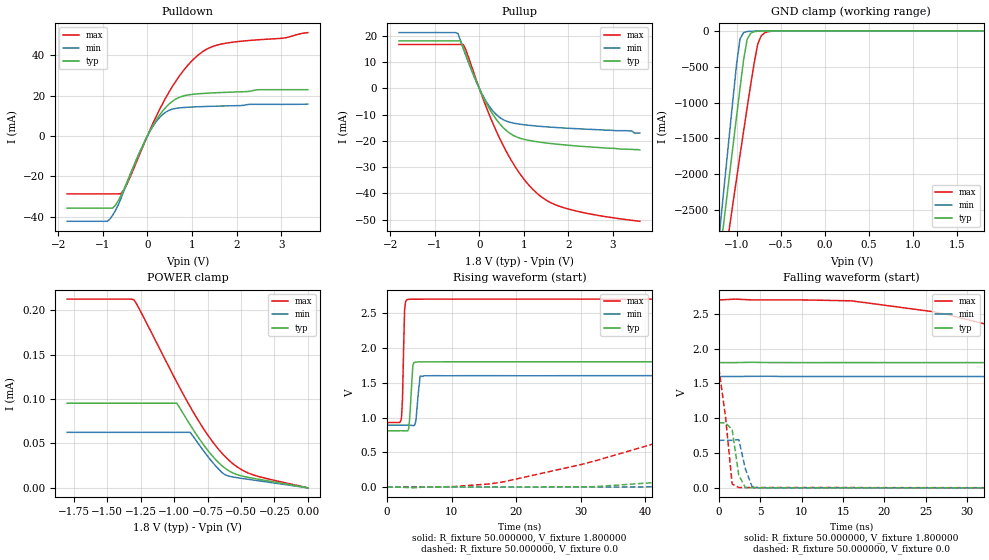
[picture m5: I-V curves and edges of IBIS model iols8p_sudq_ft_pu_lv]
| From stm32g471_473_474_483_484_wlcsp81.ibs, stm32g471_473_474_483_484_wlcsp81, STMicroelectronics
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|   Model iols8p_sudq_ft_pu_lv
[Model]  iols8p_sudq_ft_pu_lv
Model_type I/O
Polarity   Non-Inverting
Enable   Active-Low
Vinl =   0.540000V
Vinh =   1.260000V
Vmeas =  0.900000V
Cref =   50.000000pF
Rref =   100.000000M
Vref =   0.0V
C_comp   1.984800pF   1.899400pF   2.077500pF
[Temperature Range]   25.000000   -40.000000   0.125000k
[Pullup Reference]   1.800000V   1.600000V   2.700000V
[Pulldown Reference]   0.0V   0.0V   0.0V
[POWER Clamp Reference]   1.800000V   1.600000V   2.700000V
[GND Clamp Reference]   0.0V   0.0V   0.0V
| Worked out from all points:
|   slope of the pulldown table from 0 to 0.27 V, typ, clamps not added: 26.4 ohm
|   slope of the pullup table from 0 to 0.27 V, typ, clamps not added: 30.1 ohm
|   GND clamp passes 1 mA (typ) near -0.61 V on its own axis
|   rising waveform, R_fixture 50.000000, V_fixture 1.800000: 20-80 % time 379ps typ, 423ps min, 265ps max; typ from 0.81 V to 1.8 V
|   rising waveform, R_fixture 50.000000, V_fixture 0.0: 20-80 % time 68.6ns typ, 74.3ns min, 45.2ns max; typ from 0.001 V to 0.935 V
|   falling waveform, R_fixture 50.000000, V_fixture 1.800000: 20-80 % time 72.7ns typ, 95.3ns min, 37.6ns max; typ from 1.8 V to 0.81 V
|   falling waveform, R_fixture 50.000000, V_fixture 0.0: 20-80 % time 683ps typ, 950ps min, 966ps max; typ from 0.935 V to 0.001 V
[Pulldown]
|Voltage   I(typ)   I(min)   I(max)
-1.8V     -35.64mA   -42.15mA   -28.59mA
-900mV    -35.64mA   -42.15mA   -28.59mA
-780mV    -35.64mA   -39.2mA    -28.59mA
-600mV    -29.83mA   -31.3mA    -28.52mA
-420mV    -20.8mA    -21.07mA   -21.98mA
60mV      2.604mA    2.459mA    3.062mA
240mV     9.303mA    8.31mA     11.61mA
480mV     15.67mA    12.64mA    21.52mA
720mV     19.18mA    13.9mA     29.74mA
960mV     20.46mA    14.3mA     36.27mA
1.44V     21.29mA    14.7mA     44.06mA
3.6V      22.91mA    15.79mA    51.15mA
[Pullup]
|Voltage   I(typ)   I(min)   I(max)
-1.8V     18.05mA    21.25mA    16.71mA
-540mV    18.05mA    21.25mA    16.71mA
-480mV    18.05mA    20.96mA    16.71mA
-420mV    18.05mA    18.11mA    16.71mA
-360mV    15.57mA    15.21mA    16.71mA
60mV      -2.268mA   -2.095mA   -2.822mA
360mV     -11.31mA   -9.605mA   -15.45mA
600mV     -15.96mA   -12.42mA   -23.82mA
840mV     -18.52mA   -13.44mA   -30.72mA
1.38V     -20.52mA   -14.48mA   -41.14mA
2.1V      -21.8mA    -15.27mA   -46.39mA
3.6V      -23.4mA    -17mA      -50.6mA
[GND_clamp]
|Voltage   I(typ)   I(min)   I(max)
-1.8V     -9.477A    -9.805A    -9.016A
-1.2V     -3.243A    -2.9A      -3.759A
-1.16V    -2.83A     -2.409A    -3.417A
-1.12V    -2.418A    -1.919A    -3.076A
-1.08V    -2.008A    -1.431A    -2.736A
-1V       -1.194A    -466mA     -2.061A
-960mV    -792.8mA   -108.7mA   -1.727A
-920mV    -402mA     -24.35mA   -1.396A
-880mV    -117.8mA   -9.188mA   -1.071A
-760mV    -5.896mA   -2.88mA    -183.8mA
-680mV    -2.395mA   -1.099mA   -26.61mA
1.8V      0A         0A         0A
[POWER_clamp]
|Voltage   I(typ)   I(min)   I(max)
-1.8V     95.27uA    62.52uA    212.4uA
-1.3V     95.27uA    62.52uA    211.7uA
-1.24V    95.27uA    62.52uA    195.4uA
-980mV    95.27uA    62.52uA    119uA
-880mV    70.93uA    62.52uA    91.35uA
-740mV    40.61uA    33.79uA    57.65uA
-640mV    24.64uA    16.99uA    38.63uA
-600mV    20.11uA    13.6uA     32.43uA
-540mV    15.51uA    11.72uA    24.8uA
-440mV    11.66uA    9.491uA    16.35uA
-340mV    8.934uA    7.326uA    11.65uA
0V        0A         0A         0A
[Ramp]
| variable   typ   min   max
dV/dt_r  0.56095/68.67975n   0.40953/74.27229n   1.02717/44.98407n
dV/dt_f  0.59405/72.60739n   0.42589/95.26095n   1.06315/37.53994n
R_load = 50.000000
[Rising Waveform]
R_fixture= 50.000000
V_fixture= 1.800000
V_fixture_min= 1.600000
V_fixture_max= 2.700000
|time   V(typ)   V(min)   V(max)
0s        809.8mV    890.3mV    928.1mV
2.242ns   809.8mV    890.3mV    993.3mV
2.402ns   809.8mV    890.3mV    1.271V
2.723ns   809mV      890.3mV    2.541V
3.203ns   807.2mV    890.4mV    2.695V
4.004ns   1.748V     884.3mV    2.699V
4.484ns   1.796V     960.8mV    2.699V
5.125ns   1.799V     1.593V     2.7V
5.766ns   1.8V       1.6V       2.7V
79.76ns   1.8V       1.6V       2.7V
[Rising Waveform]
R_fixture= 50.000000
V_fixture= 0.0
V_fixture_min= 0.0
V_fixture_max= 0.0
|time   V(typ)   V(min)   V(max)
0s        727.8uV    547uV      1.255mV
18.02ns   2.02mV     1.674mV    75.77mV
32.03ns   6.18mV     1.697mV    372.5mV
62.06ns   209.3mV    74.21mV    1.129V
80.08ns   398.5mV    158mV      1.429V
104.1ns   610.5mV    330.5mV    1.601V
126.1ns   738.8mV    448.3mV    1.661V
174.2ns   885.5mV    630.8mV    1.704V
248.2ns   930.2mV    683.3mV    1.714V
997ns     935.3mV    683.1mV    1.714V
[Falling Waveform]
R_fixture= 50.000000
V_fixture= 1.800000
V_fixture_min= 1.600000
V_fixture_max= 2.700000
|time   V(typ)   V(min)   V(max)
0s        1.8V       1.6V       2.7V
16.02ns   1.8V       1.6V       2.687V
26.03ns   1.8V       1.6V       2.529V
64.06ns   1.737V     1.6V       1.391V
76.08ns   1.647V     1.6V       1.186V
120.1ns   1.255V     1.504V     992.1mV
160.2ns   977.5mV    1.286V     953.6mV
200.2ns   882.5mV    1.065V     936.8mV
314.3ns   819.5mV    908.5mV    928.2mV
997ns     809.8mV    890.3mV    928.1mV
[Falling Waveform]
R_fixture= 50.000000
V_fixture= 0.0
V_fixture_min= 0.0
V_fixture_max= 0.0
|time   V(typ)   V(min)   V(max)
0s        935.3mV    683.1mV    1.714V
800.8ps   935.3mV    683.1mV    1.021V
1.602ns   838.7mV    682.5mV    55.24mV
2.402ns   181.5mV    693.4mV    5.324mV
3.203ns   4.882mV    272.1mV    4.519mV
4.004ns   1.823mV    19.9mV     4.432mV
4.805ns   1.435mV    1.988mV    4.408mV
79.28ns   727.8uV    547uV      1.255mV
